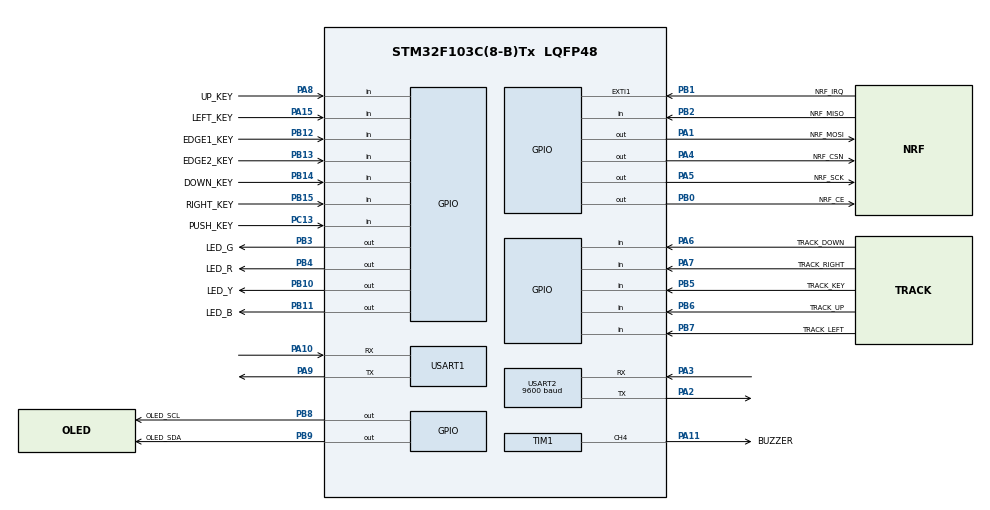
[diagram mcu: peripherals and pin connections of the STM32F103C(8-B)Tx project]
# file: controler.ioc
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Mcu.Family=STM32F1
Mcu.Name=STM32F103C(8-B)Tx
Mcu.Package=LQFP48
NVIC.EXTI1_IRQn=true\:0\:0\:false\:false\:true\:true\:true\:true
NVIC.PriorityGroup=NVIC_PRIORITYGROUP_4
NVIC.USART1_IRQn=true\:0\:0\:false\:false\:true\:true\:true\:true
NVIC.USART2_IRQn=true\:0\:0\:true\:false\:true\:true\:true\:true
PA1.GPIO_Label=NRF_MOSI
PA1.Signal=GPIO_Output
PA10.Mode=Asynchronous
PA10.Signal=USART1_RX
PA11.GPIO_Label=BUZZER
PA11.Signal=S_TIM1_CH4
PA13.Mode=Serial_Wire
PA13.Signal=SYS_JTMS-SWDIO
PA14.Mode=Serial_Wire
PA14.Signal=SYS_JTCK-SWCLK
PA15.GPIO_Label=LEFT_KEY
PA15.GPIO_PuPd=GPIO_PULLUP
PA15.Signal=GPIO_Input
PA2.Mode=Asynchronous
PA2.Signal=USART2_TX
PA3.Mode=Asynchronous
PA3.Signal=USART2_RX
PA4.GPIO_Label=NRF_CSN
PA4.Signal=GPIO_Output
PA5.GPIO_Label=NRF_SCK
PA5.Signal=GPIO_Output
PA6.GPIO_Label=TRACK_DOWN
PA6.Signal=GPIO_Input
PA7.GPIO_Label=TRACK_RIGHT
PA7.Signal=GPIO_Input
PA8.GPIO_Label=UP_KEY
PA8.GPIO_PuPd=GPIO_PULLUP
PA8.Signal=GPIO_Input
PA9.Mode=Asynchronous
PA9.Signal=USART1_TX
PB0.GPIO_Label=NRF_CE
PB0.Signal=GPIO_Output
PB1.GPIO_Label=NRF_IRQ
PB1.GPIO_ModeDefaultEXTI=GPIO_MODE_IT_FALLING
PB1.Signal=GPXTI1
PB10.GPIO_Label=LED_Y
PB10.Signal=GPIO_Output
PB11.GPIO_Label=LED_B
PB11.Signal=GPIO_Output
PB12.GPIO_Label=EDGE1_KEY
PB12.GPIO_PuPd=GPIO_PULLUP
PB12.Signal=GPIO_Input
PB13.GPIO_Label=EDGE2_KEY
PB13.GPIO_PuPd=GPIO_PULLUP
PB13.Signal=GPIO_Input
PB14.GPIO_Label=DOWN_KEY
PB14.GPIO_PuPd=GPIO_PULLUP
PB14.Signal=GPIO_Input
PB15.GPIO_Label=RIGHT_KEY
PB15.GPIO_PuPd=GPIO_PULLUP
PB15.Signal=GPIO_Input
PB2.GPIO_Label=NRF_MISO
PB2.GPIO_PuPd=GPIO_PULLUP
PB2.Signal=GPIO_Input
PB3.GPIO_Label=LED_G
PB3.Signal=GPIO_Output
PB4.GPIO_Label=LED_R
PB4.Signal=GPIO_Output
PB5.GPIO_Label=TRACK_KEY
PB5.GPIO_PuPd=GPIO_PULLUP
PB5.Signal=GPIO_Input
PB6.GPIO_Label=TRACK_UP
PB6.Signal=GPIO_Input
PB7.GPIO_Label=TRACK_LEFT
PB7.Signal=GPIO_Input
PB8.GPIO_Label=OLED_SCL
PB8.Signal=GPIO_Output
PB9.GPIO_Label=OLED_SDA
PB9.Signal=GPIO_Output
PC13-TAMPER-RTC.GPIO_Label=PUSH_KEY
PC13-TAMPER-RTC.GPIO_PuPd=GPIO_PULLUP
PC13-TAMPER-RTC.Signal=GPIO_Input
PD0-OSC_IN.Mode=HSE-External-Oscillator
PD0-OSC_IN.Signal=RCC_OSC_IN
PD1-OSC_OUT.Mode=HSE-External-Oscillator
PD1-OSC_OUT.Signal=RCC_OSC_OUT
ProjectManager.HeapSize=0x200
ProjectManager.StackSize=0x400
ProjectManager.TargetToolchain=MDK-ARM V5.32
RCC.APB1Freq_Value=8000000
RCC.APB2Freq_Value=8000000
RCC.RTCClockSelection=RCC_RTCCLKSOURCE_LSE
SH.S_TIM1_CH4.0=TIM1_CH4,PWM Generation4 CH4
TIM1.Channel-PWM\ Generation4\ CH4=TIM_CHANNEL_4
TIM1.Period=100
TIM1.Prescaler=181
TIM1.Pulse-PWM\ Generation4\ CH4=500
USART1.VirtualMode=VM_ASYNC
USART2.BaudRate=9600
USART2.VirtualMode=VM_ASYNC
VP_TIM1_VS_ClockSourceINT.Mode=Internal
board=custom

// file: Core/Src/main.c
/* USER CODE BEGIN Header */
/**
 ******************************************************************************
 * @file           : main.c
 * @brief          : Main program body
 ******************************************************************************
 * @attention
 *
 * Copyright (c) 2026 STMicroelectronics.
 * All rights reserved.
 *
 * This software is licensed under terms that can be found in the LICENSE file
 * in the root directory of this software component.
 * If no LICENSE file comes with this software, it is provided AS-IS.
 *
 ******************************************************************************
 */
/* USER CODE END Header */
#include "main.h"
#include "tim.h"
#include "usart.h"
#include "gpio.h"

/* USER CODE BEGIN Includes */
#include "system.h"
/* USER CODE END Includes */

void SystemClock_Config(void);

/* USER CODE BEGIN 0 */

void HAL_UART_RxCpltCallback(UART_HandleTypeDef *huart)
{
  if (huart == &huart2)
  {
    MPU_UART_Receive();
  }
  else if (huart == &huart1)
  {
    uart1_receivce();
  }
}
void HAL_GPIO_EXTI_Callback(uint16_t GPIO_Pin)
{
  nrf_receive_process_irq();
}
/* USER CODE END 0 */

int main(void)
{

  /* MCU Configuration--------------------------------------------------------*/

  /* Reset of all peripherals, Initializes the Flash interface and the Systick. */
  HAL_Init();

  /* Configure the system clock */
  SystemClock_Config();

  /* Initialize all configured peripherals */
  MX_GPIO_Init();
  MX_TIM1_Init();
  MX_USART2_UART_Init();
  MX_USART1_UART_Init();
  /* USER CODE BEGIN 2 */
  show_init();
  key_init();
  NRF24L01_Init();
  buzzer_init();
  uart1_init();
  led_init();
  mpu6050_init();

  /* USER CODE END 2 */

  /* Infinite loop */
  /* USER CODE BEGIN WHILE */
  while (1)
  {

    key_read();
    key_process();
    oled_process();
    oled_display();
    nrf_receive_process_irq();
    led_process();
    mpu6050_process();
    uart1_process();
    buzzer_process();
    nrf_receive_process_main();
    /* USER CODE END WHILE */

  }
}

void SystemClock_Config(void)
{
  RCC_OscInitTypeDef RCC_OscInitStruct = {0};
  RCC_ClkInitTypeDef RCC_ClkInitStruct = {0};

  /** Initializes the RCC Oscillators according to the specified parameters
  * in the RCC_OscInitTypeDef structure.
  */
  RCC_OscInitStruct.OscillatorType = RCC_OSCILLATORTYPE_HSI;
  RCC_OscInitStruct.HSIState = RCC_HSI_ON;
  RCC_OscInitStruct.HSICalibrationValue = RCC_HSICALIBRATION_DEFAULT;
  RCC_OscInitStruct.PLL.PLLState = RCC_PLL_NONE;
  if (HAL_RCC_OscConfig(&RCC_OscInitStruct) != HAL_OK)
  {
    Error_Handler();
  }

  /** Initializes the CPU, AHB and APB buses clocks
  */
  RCC_ClkInitStruct.ClockType = RCC_CLOCKTYPE_HCLK|RCC_CLOCKTYPE_SYSCLK
                              |RCC_CLOCKTYPE_PCLK1|RCC_CLOCKTYPE_PCLK2;
  RCC_ClkInitStruct.SYSCLKSource = RCC_SYSCLKSOURCE_HSI;
  RCC_ClkInitStruct.AHBCLKDivider = RCC_SYSCLK_DIV1;
  RCC_ClkInitStruct.APB1CLKDivider = RCC_HCLK_DIV1;
  RCC_ClkInitStruct.APB2CLKDivider = RCC_HCLK_DIV1;

  if (HAL_RCC_ClockConfig(&RCC_ClkInitStruct, FLASH_LATENCY_0) != HAL_OK)
  {
    Error_Handler();
  }
}

void Error_Handler(void)
{
  __disable_irq();
  while (1)
  {
  }
}
